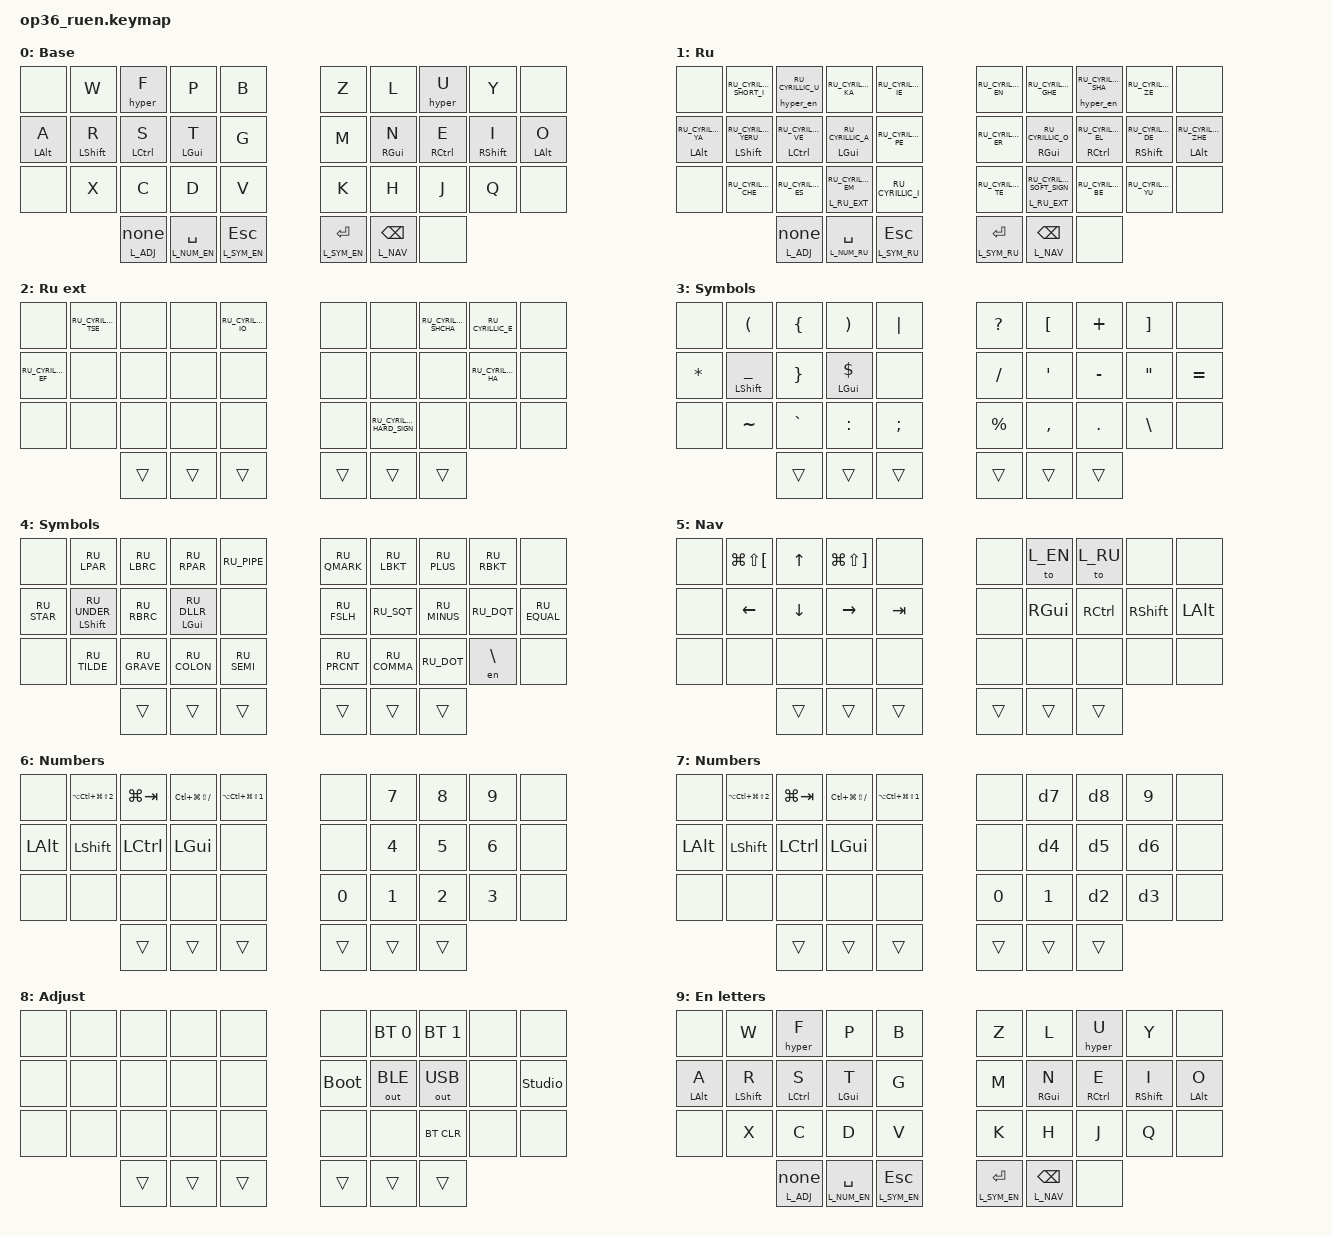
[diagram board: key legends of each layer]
#include "keys_ru.h"
#include <behaviors.dtsi>
#include <dt-bindings/zmk/bt.h>
#include <dt-bindings/zmk/keys.h>
#include <dt-bindings/zmk/outputs.h>

// keys_ru.h is generated for the Windows ЙЦУКЕН, which macOS calls
// "Русская — ПК". The host runs the Mac-traditional "Русская" instead. The two
// place every letter identically and disagree only on punctuation, which is why
// the ru layer types correctly while sym_ru did not. These are the keys where
// they differ; ё is the only letter among them. Each value was read out of the
// layout's own data with UCKeyTranslate, not off a chart.
//
// Base macros are redefined so their aliases follow: RU_DOT is (RU_PERIOD),
// RU_FSLH is (RU_SLASH), RU_SEMI is (RU_SEMICOLON), RU_QMARK is (RU_QUESTION),
// RU_PRCNT is (RU_PERCENT).
#undef RU_PERCENT
#define RU_PERCENT (LS(N4))
#undef RU_COLON
#define RU_COLON (LS(N5))
#undef RU_COMMA
#define RU_COMMA (LS(N6))
#undef RU_PERIOD
#define RU_PERIOD (LS(N7))
#undef RU_SEMICOLON
#define RU_SEMICOLON (LS(N8))
#undef RU_SLASH
#define RU_SLASH (FSLH)
#undef RU_QUESTION
#define RU_QUESTION (LS(FSLH))
#undef RU_CYRILLIC_IO
#define RU_CYRILLIC_IO (BSLH)

// The glyphs keys_ru.h has no macro for at all, plus * which it defines
// wrongly for this layout. "Русская" does carry every one of them — most under
// Option, which the earlier sweep missed by looking only at the plain and
// shifted states — so none of these needs the &en wrapper and its two Caps Lock
// taps. Read out of the layout's own data with UCKeyTranslate, dead-key
// processing left on; none of the ten is a dead key, and the identity of each
// physical key was confirmed against ABC rather than assumed:
//
//   {  Option+9          }  Option+0          *  Option+8
//   [  Shift+`           ]  `                 $  Option+4
//   '  Option+Shift+9    |  Option+Shift+1    ~  Option+M
//   `  Option+Shift+0
//
// Undef first: none of the nine exists in keys_ru.h today, and this way a
// future header that gains them cannot collide silently. RU_STAR is an alias
// of (RU_ASTERISK) and expands lazily, so redefining the base carries it.
#undef RU_LBRC
#define RU_LBRC (LA(N9))
#undef RU_RBRC
#define RU_RBRC (LA(N0))
#undef RU_LBKT
#define RU_LBKT (LS(GRAVE))
#undef RU_RBKT
#define RU_RBKT (GRAVE)
#undef RU_SQT
#define RU_SQT (LA(LS(N9)))
#undef RU_PIPE
#define RU_PIPE (LA(LS(N1)))
#undef RU_DLLR
#define RU_DLLR (LA(N4))
#undef RU_TILDE
#define RU_TILDE (LA(M))
#undef RU_GRAVE
#define RU_GRAVE (LA(LS(N0)))
#undef RU_ASTERISK
#define RU_ASTERISK (LA(N8))

// \ is the one that really is absent: its key carries ё on this layout, which
// is why RU_CYRILLIC_IO is BSLH above. It stays on the &en wrapper, and staying
// undefined keeps a future &kp RU_BSLH from compiling to a silently wrong glyph.
#undef RU_BACKSLASH

// Layer indices. A layer *is* its position in the keymap node — &mo, &lt and
// &to take a plain devicetree cell, and there is no phandle to a layer — so the
// number is unavoidable at the binding. Naming it here means a reordering is one
// edit in this block instead of a hunt for literals, and the node names below
// are kept in the same order so the two cannot disagree silently.
//
// CONFIG_ZMK_LAYOUT_RESYNC_ALT_LAYER in module/Kconfig is the one layer index
// this block cannot reach: Kconfig does not see these defines. It defaults to 1,
// which is L_RU, and has to be moved by hand if ru ever moves.
#define L_EN 0
#define L_RU 1
#define L_RU_EXT 2
#define L_SYM_EN 3
#define L_SYM_RU 4
#define L_NAV 5
#define L_NUM_EN 6
#define L_NUM_RU 7
#define L_ADJ 8
#define L_EN_LTR 9

// &lt keeps ZMK's own "tap-preferred": the layer waits for the tapping term and
// a roll always taps, which is what a layer hanging off a letter key needs. The
// only change is quick-tap-ms, so tap-then-hold repeats the letter instead of
// raising the layer. The thumbs want the opposite and use &ltt below.
&lt {
    quick-tap-ms = <200>;
};

/ {
    behaviors {
        hml: home_row_mod_left {
            compatible = "zmk,behavior-hold-tap";
            #binding-cells = <2>;
            flavor = "balanced";
            require-prior-idle-ms = <100>;
            tapping-term-ms = <280>;
            quick-tap-ms = <175>;
            bindings = <&kp>, <&kp>;

            hold-trigger-key-positions = <5 6 7 8 9 15 16 17 18 19 25 26 27 28 29 33 34 35>;
            hold-trigger-on-release;
        };

        hmr: home_row_mod_right {
            compatible = "zmk,behavior-hold-tap";
            #binding-cells = <2>;
            flavor = "balanced";
            require-prior-idle-ms = <100>;
            tapping-term-ms = <280>;
            quick-tap-ms = <175>;
            bindings = <&kp>, <&kp>;

            hold-trigger-key-positions = <0 1 2 3 4 10 11 12 13 14 20 21 22 23 24 30 31 32>;
            hold-trigger-on-release;
        };

        // The thumbs, and only the thumbs, want the layer to win as soon as
        // another key is used: with "tap-preferred" a fast opposite-hand press
        // would beat the layer to it. Everything hanging off a letter key stays
        // on the stock &lt, where a roll always taps.
        ltt: layer_tap_thumb {
            compatible = "zmk,behavior-hold-tap";
            #binding-cells = <2>;
            flavor = "balanced";
            tapping-term-ms = <200>;
            quick-tap-ms = <200>;
            bindings = <&mo>, <&kp>;
        };

        // adj with nothing to tap. It has to stay a hold-tap rather than become
        // a plain &mo, because tap-preferred is what keeps a roll off this key:
        // the layer only comes up once the tapping term expires, so pressing it
        // and a letter together taps nothing and the letter lands on the base
        // layer. A bare &mo raises adj on the press, and adj carries
        // &bootloader at position 15 and &bt BT_SEL at 6 and 7 — all on the
        // right hand, exactly where a letter rolled after the left thumb goes.
        // "30 then m" would reboot into the bootloader.
        //
        // No quick-tap-ms: that property exists so tap-then-hold repeats the
        // tapped key, and there is no key here to repeat.
        ltadj: layer_tap_adj {
            compatible = "zmk,behavior-hold-tap";
            #binding-cells = <2>;
            flavor = "tap-preferred";
            tapping-term-ms = <200>;
            bindings = <&mo>, <&none>;
        };

        // Hyper on the top row. The hold binding has to be the &hyper macro, not
        // &kp LS(LC(LA(LGUI))): that form registers LGUI as an explicit modifier
        // but Shift/Ctrl/Alt only as implicit ones, and
        // hid_listener_keycode_pressed overwrites the implicit set on the very
        // next keypress, so the chord would reach the host as plain Cmd. Four
        // separate &kp modifiers all go through zmk_hid_register_mod and stick.
        // The 0 in `&hyl 0 F` is the hold parameter, unused because the macro
        // takes none; the hold-tap schema still demands two cells.
        hyl: hyper_left {
            compatible = "zmk,behavior-hold-tap";
            #binding-cells = <2>;
            flavor = "balanced";
            require-prior-idle-ms = <100>;
            tapping-term-ms = <280>;
            quick-tap-ms = <175>;
            bindings = <&hyper>, <&kp>;

            hold-trigger-key-positions = <5 6 7 8 9 15 16 17 18 19 25 26 27 28 29 33 34 35>;
            hold-trigger-on-release;
        };

        hyr: hyper_right {
            compatible = "zmk,behavior-hold-tap";
            #binding-cells = <2>;
            flavor = "balanced";
            require-prior-idle-ms = <100>;
            tapping-term-ms = <280>;
            quick-tap-ms = <175>;
            bindings = <&hyper>, <&kp>;

            hold-trigger-key-positions = <0 1 2 3 4 10 11 12 13 14 20 21 22 23 24 30 31 32>;
            hold-trigger-on-release;
        };

        // Same as hml/hmr, but the hold drops to en for its duration. Only used
        // on ru: the letters there are positional ЙЦУКЕН, so the physical key
        // carrying a given scancode differs from Colemak-DH and every shortcut
        // lands on the wrong one. Shift is deliberately left on plain hml/hmr —
        // it is what types capital Cyrillic, and switching would make it type
        // Latin instead.
        hml_ru: home_row_mod_left_ru {
            compatible = "zmk,behavior-hold-tap";
            #binding-cells = <2>;
            flavor = "balanced";
            require-prior-idle-ms = <100>;
            tapping-term-ms = <280>;
            quick-tap-ms = <175>;
            bindings = <&en_mod>, <&kp>;

            hold-trigger-key-positions = <5 6 7 8 9 15 16 17 18 19 25 26 27 28 29 33 34 35>;
            hold-trigger-on-release;
        };

        hmr_ru: home_row_mod_right_ru {
            compatible = "zmk,behavior-hold-tap";
            #binding-cells = <2>;
            flavor = "balanced";
            require-prior-idle-ms = <100>;
            tapping-term-ms = <280>;
            quick-tap-ms = <175>;
            bindings = <&en_mod>, <&kp>;

            hold-trigger-key-positions = <0 1 2 3 4 10 11 12 13 14 20 21 22 23 24 30 31 32>;
            hold-trigger-on-release;
        };

        // hmr_ru with the hold binding swapped for en_mod_prefix. Only position
        // 17 uses it, the right Ctrl, which is the modifier of the herdr prefix
        // and is used for nothing else. Flavour, guards and trigger list are
        // untouched, so the key behaves exactly like its neighbours otherwise.
        hmr_pfx: home_row_mod_right_prefix {
            compatible = "zmk,behavior-hold-tap";
            #binding-cells = <2>;
            flavor = "balanced";
            require-prior-idle-ms = <100>;
            tapping-term-ms = <280>;
            quick-tap-ms = <175>;
            bindings = <&en_mod_prefix>, <&kp>;

            hold-trigger-key-positions = <0 1 2 3 4 10 11 12 13 14 20 21 22 23 24 30 31 32>;
            hold-trigger-on-release;
        };

        // Holds en_letters over ru across exactly one key press. This is the
        // stock &sl in everything but two properties. ignore-modifiers, which
        // &sl does not carry and &sk does: without it the Shift of a
        // Shift+letter command would consume the sticky before the letter
        // arrived. And release-after-ms, which has to outlast the human, not
        // the keystroke — herdr puts a prompt on screen and you read it before
        // choosing a command. The stock 1000 expired first and the command key
        // arrived as Cyrillic, which is the whole bug this value fixes.
        //
        // herdr itself has no prefix timeout: ClientShellMode::Prefix in
        // src/client/shell/input.rs is a key-driven state machine with no timer,
        // and any key at all leaves the mode. So the firmware should hold until
        // the next key too, and 600000 is "long enough that it never decides
        // first". Any key press consumes the sticky, so the only cost is one
        // Latin character if you arm the prefix and then abandon it.
        //
        // It only works because en_letters sits above ru. Raising layer 0
        // itself is impossible — keymap.c pins the default layer at 0, keeps it
        // always active and makes it the floor of the lookup.
        sken: sticky_en {
            compatible = "zmk,behavior-sticky-key";
            #binding-cells = <1>;
            bindings = <&mo>;
            release-after-ms = <600000>;
            ignore-modifiers;
        };

        hyl_ru: hyper_left_ru {
            compatible = "zmk,behavior-hold-tap";
            #binding-cells = <2>;
            flavor = "balanced";
            require-prior-idle-ms = <100>;
            tapping-term-ms = <280>;
            quick-tap-ms = <175>;
            bindings = <&hyper_en>, <&kp>;

            hold-trigger-key-positions = <5 6 7 8 9 15 16 17 18 19 25 26 27 28 29 33 34 35>;
            hold-trigger-on-release;
        };

        hyr_ru: hyper_right_ru {
            compatible = "zmk,behavior-hold-tap";
            #binding-cells = <2>;
            flavor = "balanced";
            require-prior-idle-ms = <100>;
            tapping-term-ms = <280>;
            quick-tap-ms = <175>;
            bindings = <&hyper_en>, <&kp>;

            hold-trigger-key-positions = <0 1 2 3 4 10 11 12 13 14 20 21 22 23 24 30 31 32>;
            hold-trigger-on-release;
        };

        // Shift+digit is resolved by the host layout, and "Русская" does not
        // keep the English symbols there: Shift+2 is ", Shift+4 is % and
        // Shift+5 is :. It does carry all of them one row over, under Option —
        // @ # $ % ^ & * sit on Option+2 through Option+8 — so these seven reach
        // the English symbol directly, with no Caps Lock and no host switching.
        // Read out of the layout's own data with UCKeyTranslate, with dead-key
        // processing left on: none of the seven is a dead key.
        //
        // Only 2..8 need this. Shift+1, Shift+9 and Shift+0 already give ! ( )
        // on both layouts, so those three stay plain &kp on numbers_ru and the
        // drift check requires them to match numbers_en exactly.
        //
        // **Shift alone means "type the symbol"; Shift with any other modifier
        // means "this is a shortcut, pass it through untouched".** A single
        // mod-morph cannot say that — its condition is a bitwise AND, so any
        // Shift triggers it no matter what else is held, and Cmd+Shift+4 came
        // out as Cmd+Option+4. That broke every screenshot shortcut on ru while
        // leaving en fine, because only numbers_ru carries these morphs.
        //
        // Hence the nesting, which hangs on how masking works in
        // behavior_mod_morph.c:
        //
        //   - The outer morph fires on Shift and masks Shift.
        //   - With no Cmd/Ctrl/Alt the inner takes its *normal* branch and never
        //     calls zmk_hid_masked_modifiers_set at all, so the outer's mask
        //     stands and a clean Option+digit reaches the host.
        //   - With one of them held the inner takes its *morph* branch, whose
        //     first act is masked_modifiers_set(masked_mods). keep-mods equals
        //     mods there, so masked_mods is zero and that call **clears the
        //     outer's Shift mask**. A plain &kp digit then goes out with Shift
        //     and Cmd both live.
        //
        // tests/numbers-ru-symbols pins all three cases on one key.

        d2: digit_2_ru {
            compatible = "zmk,behavior-mod-morph";
            #binding-cells = <0>;
            bindings = <&kp N2>, <&d2_sft>;
            mods = <(MOD_LSFT|MOD_RSFT)>;
            display-name = "2";
        };

        d2_sft: digit_2_ru_shifted {
            compatible = "zmk,behavior-mod-morph";
            #binding-cells = <0>;
            bindings = <&kp LA(N2)>, <&kp N2>;
            mods = <(MOD_LGUI|MOD_RGUI|MOD_LCTL|MOD_RCTL|MOD_LALT|MOD_RALT)>;
            keep-mods = <(MOD_LGUI|MOD_RGUI|MOD_LCTL|MOD_RCTL|MOD_LALT|MOD_RALT)>;
            display-name = "@";
        };

        d3: digit_3_ru {
            compatible = "zmk,behavior-mod-morph";
            #binding-cells = <0>;
            bindings = <&kp N3>, <&d3_sft>;
            mods = <(MOD_LSFT|MOD_RSFT)>;
            display-name = "3";
        };

        d3_sft: digit_3_ru_shifted {
            compatible = "zmk,behavior-mod-morph";
            #binding-cells = <0>;
            bindings = <&kp LA(N3)>, <&kp N3>;
            mods = <(MOD_LGUI|MOD_RGUI|MOD_LCTL|MOD_RCTL|MOD_LALT|MOD_RALT)>;
            keep-mods = <(MOD_LGUI|MOD_RGUI|MOD_LCTL|MOD_RCTL|MOD_LALT|MOD_RALT)>;
            display-name = "#";
        };

        d4: digit_4_ru {
            compatible = "zmk,behavior-mod-morph";
            #binding-cells = <0>;
            bindings = <&kp N4>, <&d4_sft>;
            mods = <(MOD_LSFT|MOD_RSFT)>;
            display-name = "4";
        };

        d4_sft: digit_4_ru_shifted {
            compatible = "zmk,behavior-mod-morph";
            #binding-cells = <0>;
            bindings = <&kp LA(N4)>, <&kp N4>;
            mods = <(MOD_LGUI|MOD_RGUI|MOD_LCTL|MOD_RCTL|MOD_LALT|MOD_RALT)>;
            keep-mods = <(MOD_LGUI|MOD_RGUI|MOD_LCTL|MOD_RCTL|MOD_LALT|MOD_RALT)>;
            display-name = "$";
        };

        d5: digit_5_ru {
            compatible = "zmk,behavior-mod-morph";
            #binding-cells = <0>;
            bindings = <&kp N5>, <&d5_sft>;
            mods = <(MOD_LSFT|MOD_RSFT)>;
            display-name = "5";
        };

        d5_sft: digit_5_ru_shifted {
            compatible = "zmk,behavior-mod-morph";
            #binding-cells = <0>;
            bindings = <&kp LA(N5)>, <&kp N5>;
            mods = <(MOD_LGUI|MOD_RGUI|MOD_LCTL|MOD_RCTL|MOD_LALT|MOD_RALT)>;
            keep-mods = <(MOD_LGUI|MOD_RGUI|MOD_LCTL|MOD_RCTL|MOD_LALT|MOD_RALT)>;
            display-name = "%";
        };

        d6: digit_6_ru {
            compatible = "zmk,behavior-mod-morph";
            #binding-cells = <0>;
            bindings = <&kp N6>, <&d6_sft>;
            mods = <(MOD_LSFT|MOD_RSFT)>;
            display-name = "6";
        };

        d6_sft: digit_6_ru_shifted {
            compatible = "zmk,behavior-mod-morph";
            #binding-cells = <0>;
            bindings = <&kp LA(N6)>, <&kp N6>;
            mods = <(MOD_LGUI|MOD_RGUI|MOD_LCTL|MOD_RCTL|MOD_LALT|MOD_RALT)>;
            keep-mods = <(MOD_LGUI|MOD_RGUI|MOD_LCTL|MOD_RCTL|MOD_LALT|MOD_RALT)>;
            display-name = "^";
        };

        d7: digit_7_ru {
            compatible = "zmk,behavior-mod-morph";
            #binding-cells = <0>;
            bindings = <&kp N7>, <&d7_sft>;
            mods = <(MOD_LSFT|MOD_RSFT)>;
            display-name = "7";
        };

        d7_sft: digit_7_ru_shifted {
            compatible = "zmk,behavior-mod-morph";
            #binding-cells = <0>;
            bindings = <&kp LA(N7)>, <&kp N7>;
            mods = <(MOD_LGUI|MOD_RGUI|MOD_LCTL|MOD_RCTL|MOD_LALT|MOD_RALT)>;
            keep-mods = <(MOD_LGUI|MOD_RGUI|MOD_LCTL|MOD_RCTL|MOD_LALT|MOD_RALT)>;
            display-name = "&";
        };

        d8: digit_8_ru {
            compatible = "zmk,behavior-mod-morph";
            #binding-cells = <0>;
            bindings = <&kp N8>, <&d8_sft>;
            mods = <(MOD_LSFT|MOD_RSFT)>;
            display-name = "8";
        };

        d8_sft: digit_8_ru_shifted {
            compatible = "zmk,behavior-mod-morph";
            #binding-cells = <0>;
            bindings = <&kp LA(N8)>, <&kp N8>;
            mods = <(MOD_LGUI|MOD_RGUI|MOD_LCTL|MOD_RCTL|MOD_LALT|MOD_RALT)>;
            keep-mods = <(MOD_LGUI|MOD_RGUI|MOD_LCTL|MOD_RCTL|MOD_LALT|MOD_RALT)>;
            display-name = "*";
        };
    };

    macros {
        // The language switch sends two keys, because no single one works on
        // both platforms. iPadOS honours GLOBE (consumer 0x29D) and gives no
        // way to bind anything else — its input-source shortcuts are fixed.
        // macOS ignores GLOBE but lets any chord be bound, under Settings →
        // Keyboard → Keyboard Shortcuts → Input Sources. So each host acts on
        // the one it understands and ignores the other, and neither sees a
        // double switch.
        //
        // That macOS ignores GLOBE is not a descriptor problem: the report
        // descriptor read back off the connected keyboard (ioreg -c IOHIDDevice
        // -r -l, then decode the ReportDescriptor bytes) advertises the consumer
        // page with Usage Max 0xFFF over a 16-bit field, so 0x29D fits and macOS
        // parses the collection. Apple's "Press 🌐 key to" is wired to their own
        // Fn, which a third-party keyboard cannot produce.
        //
        // **Order matters, and GLOBE goes last.** iPadOS flashes an
        // input-source indicator when it switches, and anything arriving right
        // after GLOBE suppresses it — with the chord second the switch happened
        // silently. The Mac does not care which order they come in, since it
        // acts on the chord and ignores GLOBE either way.
        //
        // Hyper+F13 is chosen for being unpressable: this keyboard has no F13,
        // so the chord cannot be struck by accident, and nothing on either
        // platform claims it. That matters because the switch is open-loop —
        // one stray press desynchronises the firmware from the host until you
        // notice. Ctrl+Space was tried and rejected for exactly that: it works
        // on both platforms, and it is far too easy to hit.
        //
        // To bind it on macOS you cannot type it. Open the shortcut recorder and
        // press the keyboard's own switch key (position 32): this macro sends the
        // chord and the recorder captures it.
        //
        // Neither key carries a hold threshold, so no tap-ms is needed. Caps
        // Lock did — macOS applies CapsLockDelay, 75 ms on this host, and a tap
        // under it is dropped silently, moving the firmware's layer while the
        // host stays put.
        os_lang: os_lang {
            compatible = "zmk,behavior-macro";
            #binding-cells = <0>;
            bindings = <&kp LC(LA(LG(LS(F13))))>, <&kp GLOBE>;
            label = "OS_LANG";
            wait-ms = <0>;
        };

        layer_en: layer_en {
            compatible = "zmk,behavior-macro";
            #binding-cells = <0>;
            bindings = <&to L_EN &os_lang>;
            label = "LAYER_EN";
            wait-ms = <0>;
            tap-ms = <30>;
        };

        layer_ru: layer_ru {
            compatible = "zmk,behavior-macro";
            #binding-cells = <0>;
            bindings = <&to L_RU &os_lang>;
            label = "LAYER_RU";
            tap-ms = <30>;
            wait-ms = <0>;
        };

        en: en {
            compatible = "zmk,behavior-macro-one-param";
            #binding-cells = <1>;
            bindings =
                <&os_lang>,
                <&macro_press>,
                <&macro_param_1to1 &kp MACRO_PLACEHOLDER>,
                <&macro_pause_for_release>,
                <&macro_release>,
                <&macro_param_1to1 &kp MACRO_PLACEHOLDER>,
                <&macro_tap>,
                <&os_lang>;

            label = "EN";
            wait-ms = <50>;
            tap-ms = <30>;
        };

        hyper: hyper {
            compatible = "zmk,behavior-macro";
            #binding-cells = <0>;
            bindings =
                <&macro_press &kp LCTRL &kp LSHFT &kp LALT &kp LGUI>,
                <&macro_pause_for_release>,
                <&macro_release &kp LCTRL &kp LSHFT &kp LALT &kp LGUI>;

            label = "HYPER";
            wait-ms = <0>;
        };

        // Hold a modifier with the English letters under it, by raising
        // en_letters over ru rather than switching ru off. The layer unwinds
        // with the key, so the base never stops being ru and nothing has to be
        // put back afterwards.
        en_mod: en_mod {
            compatible = "zmk,behavior-macro-one-param";
            #binding-cells = <1>;
            bindings =
                <&macro_press>,
                <&mo L_EN_LTR>,
                <&macro_param_1to1 &kp MACRO_PLACEHOLDER>,
                <&macro_pause_for_release>,
                <&macro_release>,
                <&macro_param_1to1 &kp MACRO_PLACEHOLDER>,
                <&mo L_EN_LTR>;

            label = "EN_MOD";
            wait-ms = <0>;
        };

        // en_mod, except that letting the modifier go arms sken instead of
        // dropping en_letters, so the key pressed after the chord still
        // resolves on en. That is the whole herdr prefix fix: releasing Ctrl is
        // the only moment between "Ctrl+Space has been sent" and "the command
        // key is pressed".
        //
        // It cannot tell which key was pressed during the hold, so it arms after
        // any chord made with this modifier. That costs nothing because the
        // right Ctrl is only ever the prefix.
        en_mod_prefix: en_mod_prefix {
            compatible = "zmk,behavior-macro-one-param";
            #binding-cells = <1>;
            bindings =
                <&macro_press>,
                <&mo L_EN_LTR>,
                <&macro_param_1to1 &kp MACRO_PLACEHOLDER>,
                <&macro_pause_for_release>,
                <&macro_release>,
                <&macro_param_1to1 &kp MACRO_PLACEHOLDER>,
                <&mo L_EN_LTR>,
                <&macro_tap>,
                <&sken L_EN_LTR>;

            label = "EN_MOD_PREFIX";
            wait-ms = <0>;
        };

        hyper_en: hyper_en {
            compatible = "zmk,behavior-macro";
            #binding-cells = <0>;
            bindings =
                <&macro_press &mo L_EN_LTR &kp LCTRL &kp LSHFT &kp LALT &kp LGUI>,
                <&macro_pause_for_release>,
                <&macro_release &kp LCTRL &kp LSHFT &kp LALT &kp LGUI &mo L_EN_LTR>;

            label = "HYPER_EN";
            wait-ms = <0>;
        };
    };

    combos {
        compatible = "zmk,combos";

        // The layout switch. Every thumb carries something of its own now —
        // position 32 went back to Escape on the tap — so the switch is this
        // pair instead of a key: Space and Backspace tapped together.
        //
        // Two combos, one per direction, scoped by layer. `layers` is checked
        // against zmk_keymap_highest_layer_active() (app/src/combo.c), not
        // against the whole stack, so only the one for the layer being left is
        // armed. The same rule means neither fires while a higher layer is up:
        // under a held modifier on ru, en_letters sits on top and the switch is
        // refused, which is the answer that key needs there anyway.
        //
        // require-prior-idle-ms is what this pair needed the last time it
        // carried the switch: a fast space-then-backspace correction mid-word
        // fired it. 150 ms is the value it had then.
        //
        // Two costs that no property can remove. A combo fires on **press**, so
        // holding Space and then Backspace switches exactly as tapping them
        // does — numbers over nav cannot be reached through this pair. And the
        // two keys sit on opposite halves, so the right one's event crosses BLE
        // and can miss the 50 ms window, which reads as a switch that simply
        // did not happen.
        cmbru {
            bindings = <&layer_ru>;
            key-positions = <31 34>;
            layers = <L_EN>;
            require-prior-idle-ms = <150>;
        };

        cmben {
            bindings = <&layer_en>;
            key-positions = <31 34>;
            layers = <L_RU>;
            require-prior-idle-ms = <150>;
        };
    };

    keymap {
        compatible = "zmk,keymap";

        en {
            bindings = <
  &none        &kp W         &hyl 0 F      &kp P           &kp B                                                          &kp Z                 &kp L        &hyr 0 U      &kp Y         &none
  &hml LALT A  &hml LSHFT R  &hml LCTRL S  &hml LGUI T     &kp G                                                          &kp M                 &hmr RGUI N  &hmr RCTRL E  &hmr RSHFT I  &hmr LALT O
  &none        &kp X         &kp C         &kp D           &kp V                                                          &kp K                 &kp H        &kp J         &kp Q         &none
                                           &ltadj L_ADJ 0  &ltt L_NUM_EN SPACE  &ltt L_SYM_EN ESC    &ltt L_SYM_EN ENTER  &ltt L_NAV BACKSPACE  &none
            >;

            display-name = "Base";
        };

        ru {
            bindings = <
  &none                        &kp RU_CYRILLIC_SHORT_I      &hyl_ru 0 RU_CYRILLIC_U       &kp RU_CYRILLIC_KA           &kp RU_CYRILLIC_IE                                             &kp RU_CYRILLIC_EN    &kp RU_CYRILLIC_GHE                 &hyr_ru 0 RU_CYRILLIC_SHA      &kp RU_CYRILLIC_ZE         &none
  &hml_ru LALT RU_CYRILLIC_YA  &hml LSHFT RU_CYRILLIC_YERU  &hml_ru LCTRL RU_CYRILLIC_VE  &hml_ru LGUI RU_CYRILLIC_A   &kp RU_CYRILLIC_PE                                             &kp RU_CYRILLIC_ER    &hmr_ru RGUI RU_CYRILLIC_O          &hmr_pfx RCTRL RU_CYRILLIC_EL  &hmr RSHFT RU_CYRILLIC_DE  &hmr_ru LALT RU_CYRILLIC_ZHE
  &none                        &kp RU_CYRILLIC_CHE          &kp RU_CYRILLIC_ES            &lt L_RU_EXT RU_CYRILLIC_EM  &kp RU_CYRILLIC_I                                              &kp RU_CYRILLIC_TE    &lt L_RU_EXT RU_CYRILLIC_SOFT_SIGN  &kp RU_CYRILLIC_BE             &kp RU_CYRILLIC_YU         &none
                                                                                          &ltadj L_ADJ 0               &ltt L_NUM_RU SPACE  &ltt L_SYM_RU ESC    &ltt L_SYM_RU ENTER  &ltt L_NAV BACKSPACE  &none
            >;

            display-name = "Ru";
        };

        ru_ext {
            bindings = <
  &none               &kp RU_CYRILLIC_TSE  &none  &none   &kp RU_CYRILLIC_IO                    &none   &none                      &kp RU_CYRILLIC_SHCHA  &kp RU_CYRILLIC_E   &none
  &kp RU_CYRILLIC_EF  &none                &none  &none   &none                                 &none   &none                      &none                  &kp RU_CYRILLIC_HA  &none
  &none               &none                &none  &none   &none                                 &none   &kp RU_CYRILLIC_HARD_SIGN  &none                  &none               &none
                                                  &trans  &trans              &trans    &trans  &trans  &trans
            >;

            display-name = "Ru ext";
        };

        sym_en {
            bindings = <
  &none     &kp LPAR          &kp LBRC   &kp RPAR        &kp PIPE                    &kp QMARK  &kp LBKT   &kp PLUS   &kp RBKT  &none
  &kp STAR  &hml LSHFT UNDER  &kp RBRC   &hml LGUI DLLR  &none                       &kp FSLH   &kp SQT    &kp MINUS  &kp DQT   &kp EQUAL
  &none     &kp TILDE         &kp GRAVE  &kp COLON       &kp SEMI                    &kp PRCNT  &kp COMMA  &kp DOT    &kp BSLH  &none
                                         &trans          &trans    &trans    &trans  &trans     &trans
            >;

            display-name = "Symbols";
        };

        sym_ru {
            bindings = <
  &none        &kp RU_LPAR          &kp RU_LBRC   &kp RU_RPAR        &kp RU_PIPE                    &kp RU_QMARK  &kp RU_LBKT   &kp RU_PLUS   &kp RU_RBKT  &none
  &kp RU_STAR  &hml LSHFT RU_UNDER  &kp RU_RBRC   &hml LGUI RU_DLLR  &none                          &kp RU_FSLH   &kp RU_SQT    &kp RU_MINUS  &kp RU_DQT   &kp RU_EQUAL
  &none        &kp RU_TILDE         &kp RU_GRAVE  &kp RU_COLON       &kp RU_SEMI                    &kp RU_PRCNT  &kp RU_COMMA  &kp RU_DOT    &en BSLH     &none
                                                  &trans             &trans       &trans    &trans  &trans        &trans
            >;

            display-name = "Symbols";
        };

        nav {
            bindings = <
  &none  &kp LG(LS(LBKT))  &kp UP    &kp LG(LS(RBKT))  &none                      &none   &to L_EN  &to L_RU   &none      &none
  &none  &kp LEFT          &kp DOWN  &kp RIGHT         &kp TAB                    &none   &kp RGUI  &kp RCTRL  &kp RSHFT  &kp LALT
  &none  &none             &none     &none             &none                      &none   &none     &none      &none      &none
                                     &trans            &trans   &trans    &trans  &trans  &trans
            >;

            display-name = "Nav";
        };

        numbers_en {
            bindings = <
  &none     &kp LA(LC(LG(LS(N2))))  &kp LG(TAB)  &kp LC(LG(LS(FSLH)))  &kp LA(LC(LG(LS(N1))))                    &none   &kp N7  &kp N8  &kp N9  &none
  &kp LALT  &kp LSHFT               &kp LCTRL    &kp LGUI              &none                                     &none   &kp N4  &kp N5  &kp N6  &none
  &none     &none                   &none        &none                 &none                                     &kp N0  &kp N1  &kp N2  &kp N3  &none
                                                 &trans                &trans                  &trans    &trans  &trans  &trans
            >;

            display-name = "Numbers";
        };

        numbers_ru {
            bindings = <
  &none     &kp LA(LC(LG(LS(N2))))  &kp LG(TAB)  &kp LC(LG(LS(FSLH)))  &kp LA(LC(LG(LS(N1))))                    &none   &d7     &d8  &kp N9  &none
  &kp LALT  &kp LSHFT               &kp LCTRL    &kp LGUI              &none                                     &none   &d4     &d5  &d6     &none
  &none     &none                   &none        &none                 &none                                     &kp N0  &kp N1  &d2  &d3     &none
                                                 &trans                &trans                  &trans    &trans  &trans  &trans
            >;

            display-name = "Numbers";
        };

        adj {
            bindings = <
  &none  &none  &none  &none   &none                     &none        &bt BT_SEL 0  &bt BT_SEL 1  &none  &none
  &none  &none  &none  &none   &none                     &bootloader  &out OUT_BLE  &out OUT_USB  &none  &studio_unlock
  &none  &none  &none  &none   &none                     &none        &none         &bt BT_CLR    &none  &none
                       &trans  &trans  &trans    &trans  &trans       &trans
            >;

            display-name = "Adjust";
        };

        en_letters {
            bindings = <
  &none        &kp W         &hyl 0 F      &kp P           &kp B                                                          &kp Z                 &kp L        &hyr 0 U      &kp Y         &none
  &hml LALT A  &hml LSHFT R  &hml LCTRL S  &hml LGUI T     &kp G                                                          &kp M                 &hmr RGUI N  &hmr RCTRL E  &hmr RSHFT I  &hmr LALT O
  &none        &kp X         &kp C         &kp D           &kp V                                                          &kp K                 &kp H        &kp J         &kp Q         &none
                                           &ltadj L_ADJ 0  &ltt L_NUM_EN SPACE  &ltt L_SYM_EN ESC    &ltt L_SYM_EN ENTER  &ltt L_NAV BACKSPACE  &none
            >;

            display-name = "En letters";
        };
    };
};
